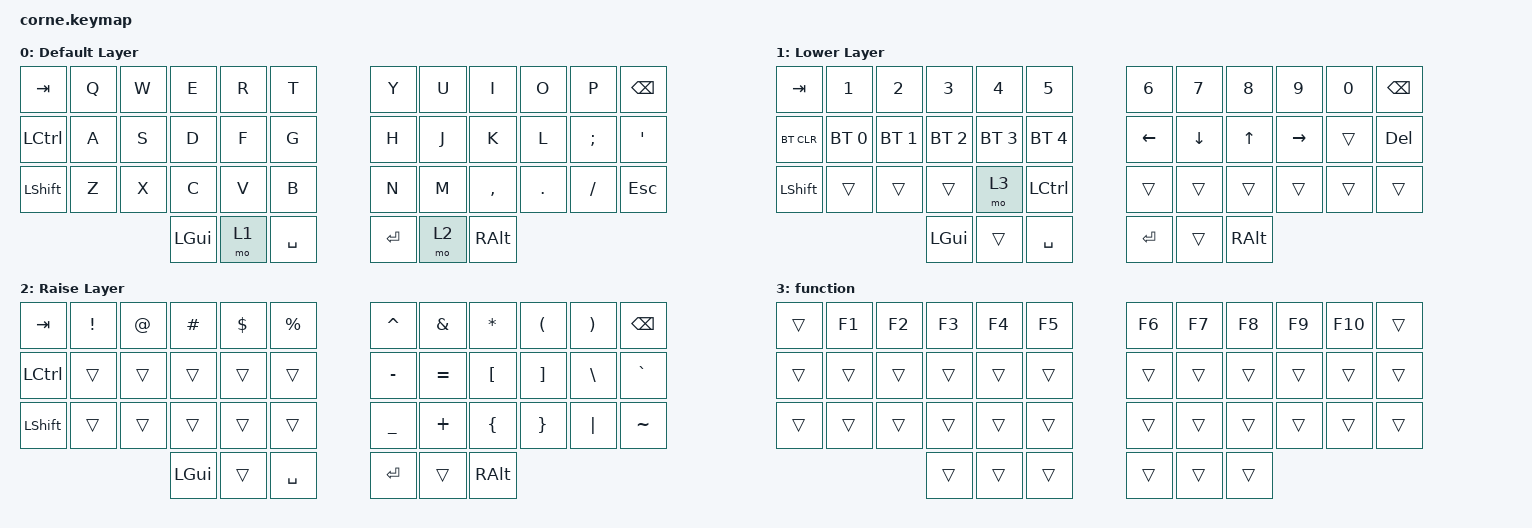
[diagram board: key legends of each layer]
/*
 * Copyright (c) 2020 The ZMK Contributors
 *
 * SPDX-License-Identifier: MIT
 */

#include <behaviors.dtsi>
#include <dt-bindings/zmk/bt.h>
#include <dt-bindings/zmk/keys.h>

/ {
    combos {
        compatible = "zmk,combos";

        ctrl_alt_del {
            bindings = <&kp LC(LA(DELETE))>;
            key-positions = <13 15 27>;
        };
    };

    keymap {
        compatible = "zmk,keymap";

        default_layer {
            display-name = "Default Layer";

            // -----------------------------------------------------------------------------------------
            // |  TAB |  Q  |  W  |  E  |  R  |  T  |   |  Y  |  U   |  I  |  O  |  P  | BSPC |
            // | CTRL |  A  |  S  |  D  |  F  |  G  |   |  H  |  J   |  K  |  L  |  ;  |  '   |
            // | SHFT |  Z  |  X  |  C  |  V  |  B  |   |  N  |  M   |  ,  |  .  |  /  | ESC  |
            //                    | GUI | LWR | SPC |   | ENT | RSE  | ALT |

            bindings = <
&kp TAB    &kp Q  &kp W  &kp E     &kp R  &kp T        &kp Y    &kp U  &kp I      &kp O    &kp P     &kp BSPC
&kp LCTRL  &kp A  &kp S  &kp D     &kp F  &kp G        &kp H    &kp J  &kp K      &kp L    &kp SEMI  &kp SQT
&kp LSHFT  &kp Z  &kp X  &kp C     &kp V  &kp B        &kp N    &kp M  &kp COMMA  &kp DOT  &kp FSLH  &kp ESC
                         &kp LGUI  &mo 1  &kp SPACE    &kp RET  &mo 2  &kp RALT
            >;
        };

        lower_layer {
            display-name = "Lower Layer";

            // -----------------------------------------------------------------------------------------
            // |  TAB |  1  |  2  |  3  |  4  |  5  |   |  6  |  7  |  8  |  9  |  0  | BSPC |
            // | BTCLR| BT1 | BT2 | BT3 | BT4 | BT5 |   | LFT | DWN |  UP | RGT |     |      |
            // | SHFT |     |     |     |     |     |   |     |     |     |     |     |      |
            //                    | GUI |     | SPC |   | ENT |     | ALT |

            bindings = <
&kp TAB     &kp N1        &kp N2        &kp N3        &kp N4        &kp N5          &kp N6    &kp N7    &kp N8    &kp N9     &kp N0  &kp BSPC
&bt BT_CLR  &bt BT_SEL 0  &bt BT_SEL 1  &bt BT_SEL 2  &bt BT_SEL 3  &bt BT_SEL 4    &kp LEFT  &kp DOWN  &kp UP    &kp RIGHT  &trans  &kp DEL
&kp LSHFT   &trans        &trans        &trans        &mo 3         &kp LCTRL       &trans    &trans    &trans    &trans     &trans  &trans
                                        &kp LGUI      &trans        &kp SPACE       &kp RET   &trans    &kp RALT
            >;
        };

        raise_layer {
            display-name = "Raise Layer";

            // -----------------------------------------------------------------------------------------
            // |  TAB |  !  |  @  |  #  |  $  |  %  |   |  ^  |  &  |  *  |  (  |  )  | BSPC |
            // | CTRL |     |     |     |     |     |   |  -  |  =  |  [  |  ]  |  \  |  `   |
            // | SHFT |     |     |     |     |     |   |  _  |  +  |  {  |  }  | "|" |  ~   |
            //                    | GUI |     | SPC |   | ENT |     | ALT |

            bindings = <
&kp TAB    &kp EXCL  &kp AT  &kp HASH  &kp DLLR  &kp PRCNT    &kp CARET  &kp AMPS   &kp ASTRK  &kp LPAR  &kp RPAR  &kp BSPC
&kp LCTRL  &trans    &trans  &trans    &trans    &trans       &kp MINUS  &kp EQUAL  &kp LBKT   &kp RBKT  &kp BSLH  &kp GRAVE
&kp LSHFT  &trans    &trans  &trans    &trans    &trans       &kp UNDER  &kp PLUS   &kp LBRC   &kp RBRC  &kp PIPE  &kp TILDE
                             &kp LGUI  &trans    &kp SPACE    &kp RET    &trans     &kp RALT
            >;
        };

        function {
            bindings = <
&trans  &kp F1  &kp F2  &kp F3  &kp F4  &kp F5    &kp F6  &kp F7  &kp F8  &kp F9  &kp F10  &trans
&trans  &trans  &trans  &trans  &trans  &trans    &trans  &trans  &trans  &trans  &trans   &trans
&trans  &trans  &trans  &trans  &trans  &trans    &trans  &trans  &trans  &trans  &trans   &trans
                        &trans  &trans  &trans    &trans  &trans  &trans
            >;
        };
    };
};
